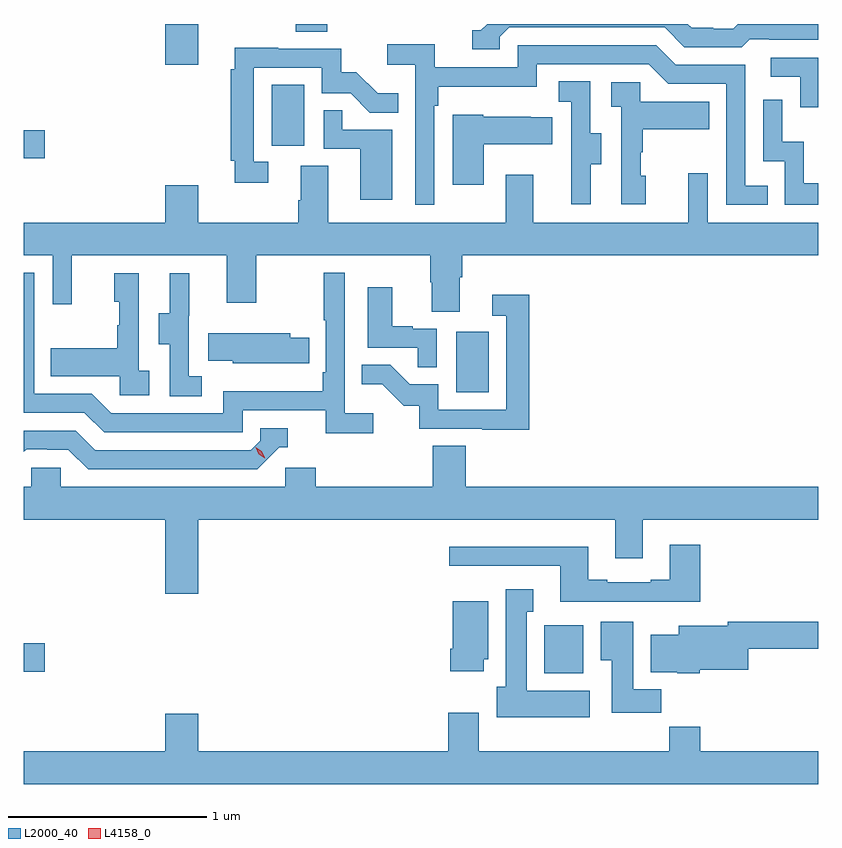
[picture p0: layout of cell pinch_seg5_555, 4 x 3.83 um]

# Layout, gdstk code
import gdstk
lib = gdstk.Library(unit=1e-6, precision=1e-09)
def R(c, l, rs):  # rectangles x0, y0, x1, y1
    for r in rs: c.add(gdstk.rectangle(r[:2], r[2:], *l))
def P(c, l, *ps):  # polygons
    for p in ps: c.add(gdstk.Polygon(p, *l))
L2000_40 = (2000, 40)
L4158_0 = (4158, 0)

pinch_seg5_555 = lib.new_cell('pinch_seg5_555')
R(pinch_seg5_555, L2000_40, [(970.112,836.006,970.309,836.248), (967.491,836.014,967.597,836.156), (969.668,837.42,969.832,837.727), (967.491,838.6,967.597,838.742), (968.738,838.662,968.902,838.969), (968.204,839.07,968.368,839.276), (968.86,839.236,969.02,839.276)])
P(pinch_seg5_555, L2000_40, [(969.888,839.211),(969.936,839.259),(970.719,839.259),(970.818,839.16),(971.107,839.16),(971.146,839.199),(971.245,839.199),(971.245,839.196),(971.491,839.196),(971.491,839.276),(971.087,839.276),(971.065,839.253),(970.962,839.253),(970.962,839.256),(970.855,839.256),(970.835,839.276),(969.824,839.276),(969.792,839.244),(969.749,839.244),(969.749,839.148),(969.888,839.148)],
  [(969.558,838.865),(969.578,838.865),(969.578,838.961),(970.074,838.961),(970.074,839.073),(970.638,839.073),(970.737,838.974),(971.028,838.974),(971.028,838.365),(971.237,838.365),(971.237,838.461),(971.124,838.461),(971.124,839.07),(970.774,839.07),(970.675,839.169),(969.978,839.169),(969.978,839.058),(969.56,839.058),(969.56,839.174),(969.321,839.174),(969.321,839.072),(969.462,839.072),(969.462,838.365),(969.558,838.365)],
  [(968.722,838.581),(968.649,838.581),(968.649,839.055),(968.991,839.055),(968.991,838.926),(969.136,838.926),(969.234,838.828),(969.377,838.828),(969.377,838.927),(969.273,838.927),(969.166,839.034),(969.09,839.034),(969.09,839.151),(968.771,839.151),(968.771,839.156),(968.552,839.156),(968.552,839.048),(968.533,839.048),(968.533,838.588),(968.552,838.588),(968.552,838.476),(968.722,838.476)],
  [(971.491,839.106),(971.253,839.106),(971.253,839.01),(971.4,839.01),(971.4,838.857),(971.491,838.857)],
  [(970.345,838.57),(970.399,838.57),(970.399,838.725),(970.344,838.725),(970.344,838.988),(970.185,838.988),(970.185,838.885),(970.248,838.885),(970.248,838.581),(970.247,838.581),(970.247,838.368),(970.345,838.368)],
  [(970.624,838.512),(970.599,838.512),(970.599,838.631),(970.609,838.631),(970.609,838.745),(970.943,838.745),(970.943,838.885),(970.596,838.885),(970.596,838.983),(970.449,838.983),(970.449,838.859),(970.5,838.859),(970.5,838.368),(970.624,838.368)],
  [(971.491,838.474),(971.42,838.474),(971.42,838.682),(971.31,838.682),(971.31,838.894),(971.214,838.894),(971.214,838.584),(971.322,838.584),(971.322,838.365),(971.491,838.365)],
  [(969.346,838.743),(969.095,838.743),(969.095,838.841),(969,838.841),(969,838.647),(969.185,838.647),(969.185,838.392),(969.346,838.392)],
  [(969.808,838.67),(970.151,838.67),(970.151,838.807),(970.043,838.807),(970.043,838.81),(969.804,838.81),(969.804,838.819),(969.65,838.819),(969.65,838.467),(969.808,838.467)],
  [(969.685,838),(969.698,838),(969.698,838.112),(971.491,838.112),(971.491,838.276),(970.935,838.276),(970.935,838.525),(970.838,838.525),(970.838,838.276),(970.057,838.276),(970.057,838.516),(969.917,838.516),(969.917,838.276),(969.025,838.276),(969.025,838.562),(968.885,838.562),(968.885,838.388),(968.873,838.388),(968.873,838.276),(968.368,838.276),(968.368,838.465),(968.204,838.465),(968.204,838.276),(967.491,838.276),(967.491,838.112),(967.635,838.112),(967.635,837.864),(967.733,837.864),(967.733,838.112),(968.513,838.112),(968.513,837.873),(968.661,837.873),(968.661,838.112),(969.538,838.112),(969.538,837.975),(969.545,837.975),(969.545,837.826),(969.685,837.826)],
  [(969.25,837.316),(969.108,837.316),(969.108,838.024),(969,838.024),(969,837.784),(969.012,837.784),(969.012,837.523),(968.995,837.523),(968.995,837.427),(968.496,837.427),(968.496,837.315),(967.932,837.315),(967.833,837.414),(967.542,837.414),(967.542,838.023),(967.491,838.023),(967.491,837.318),(967.796,837.318),(967.895,837.219),(968.592,837.219),(968.592,837.33),(969.011,837.33),(969.011,837.214),(969.25,837.214)],
  [(968.386,837.503),(968.322,837.503),(968.322,837.807),(968.324,837.807),(968.324,838.021),(968.225,838.021),(968.225,837.819),(968.171,837.819),(968.171,837.664),(968.226,837.664),(968.226,837.4),(968.386,837.4)],
  [(968.122,837.53),(968.07,837.53),(968.07,838.021),(967.946,838.021),(967.946,837.876),(967.972,837.876),(967.972,837.758),(967.962,837.758),(967.962,837.643),(967.627,837.643),(967.627,837.503),(967.974,837.503),(967.974,837.405),(968.122,837.405)],
  [(969.57,837.741),(969.449,837.741),(969.449,837.754),(969.346,837.754),(969.346,837.949),(969.224,837.949),(969.224,837.645),(969.475,837.645),(969.475,837.547),(969.57,837.547)],
  [(970.037,837.913),(969.849,837.913),(969.849,837.807),(969.921,837.807),(969.921,837.333),(969.579,837.333),(969.579,837.462),(969.434,837.462),(969.336,837.56),(969.193,837.56),(969.193,837.461),(969.297,837.461),(969.404,837.354),(969.481,837.354),(969.481,837.237),(969.799,837.237),(969.799,837.232),(970.037,837.232)],
  [(968.816,837.567),(968.927,837.567),(968.927,837.696),(968.833,837.696),(968.833,837.718),(968.419,837.718),(968.419,837.581),(968.544,837.581),(968.544,837.566),(968.816,837.566)],
  [(968.778,837.144),(968.821,837.144),(968.821,837.24),(968.682,837.24),(968.682,837.177),(968.634,837.129),(967.851,837.129),(967.752,837.228),(967.491,837.228),(967.491,837.121),(967.505,837.135),(967.608,837.135),(967.608,837.132),(967.715,837.132),(967.814,837.033),(968.667,837.033)],
  [(968.368,836.78),(970.469,836.78),(970.469,836.586),(970.609,836.586),(970.609,836.78),(971.491,836.78),(971.491,836.944),(969.716,836.944),(969.716,837.152),(969.551,837.152),(969.551,836.944),(968.96,836.944),(968.96,837.042),(968.808,837.042),(968.808,836.944),(967.677,836.944),(967.677,837.042),(967.527,837.042),(967.527,836.944),(967.491,836.944),(967.491,836.78),(968.204,836.78),(968.204,836.406),(968.368,836.406)],
  [(970.898,836.653),(970.745,836.653),(970.745,836.476),(970.649,836.476),(970.649,836.463),(970.429,836.463),(970.429,836.476),(970.333,836.476),(970.333,836.644),(969.633,836.644),(969.633,836.547),(970.193,836.547),(970.193,836.367),(970.898,836.367)],
  [(970.342,835.918),(970.024,835.918),(970.024,836.315),(970.057,836.315),(970.057,836.428),(969.917,836.428),(969.917,835.938),(969.872,835.938),(969.872,835.784),(970.342,835.784)],
  [(969.808,836.076),(969.829,836.076),(969.829,836.368),(969.65,836.368),(969.65,836.128),(969.638,836.128),(969.638,836.016),(969.808,836.016)],
  [(970.7,835.924),(970.561,835.924),(970.561,836.266),(970.397,836.266),(970.397,836.072),(970.451,836.072),(970.451,835.806),(970.7,835.806)],
  [(970.896,836.024),(971.14,836.024),(971.14,836.128),(971.491,836.128),(971.491,836.264),(971.036,836.264),(971.036,836.245),(970.79,836.245),(970.79,836.2),(970.649,836.2),(970.649,836.012),(970.782,836.012),(970.782,836.006),(970.896,836.006)],
  [(971.491,835.612),(970.898,835.612),(970.898,835.736),(970.741,835.736),(970.741,835.612),(969.781,835.612),(969.781,835.807),(969.629,835.807),(969.629,835.612),(968.368,835.612),(968.368,835.801),(968.204,835.801),(968.204,835.612),(967.491,835.612),(967.491,835.448),(971.491,835.448)])
P(pinch_seg5_555, L4158_0, [(968.705,837.09),(968.674,837.11),(968.658,837.144),(968.658,837.144),(968.659,837.144),(968.689,837.124),(968.705,837.091),(968.705,837.09)])

lib.write_gds('pinch_seg5_555.gds')
